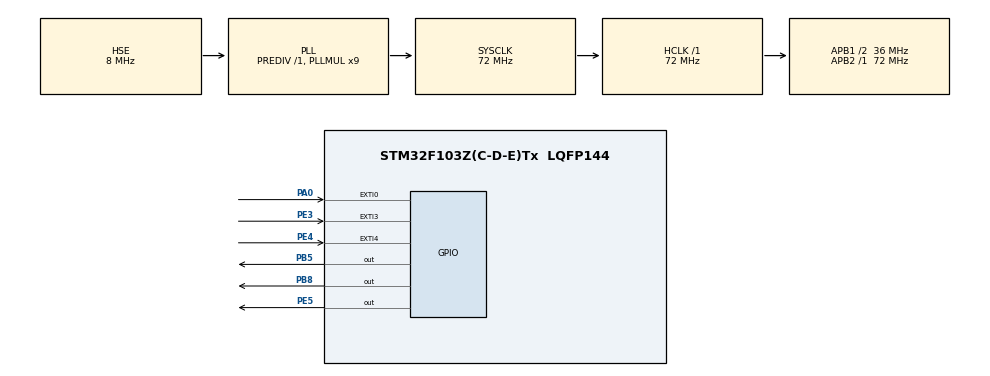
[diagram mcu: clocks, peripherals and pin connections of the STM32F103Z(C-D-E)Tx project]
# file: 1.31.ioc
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Mcu.Family=STM32F1
Mcu.Name=STM32F103Z(C-D-E)Tx
Mcu.Package=LQFP144
NVIC.EXTI0_IRQn=true\:3\:0\:true\:false\:true\:true\:true\:true
NVIC.EXTI3_IRQn=true\:1\:0\:true\:false\:true\:true\:true\:true
NVIC.EXTI4_IRQn=true\:0\:0\:false\:false\:true\:true\:true\:true
NVIC.PriorityGroup=NVIC_PRIORITYGROUP_4
OSC_IN.Mode=HSE-External-Oscillator
OSC_IN.Signal=RCC_OSC_IN
OSC_OUT.Mode=HSE-External-Oscillator
OSC_OUT.Signal=RCC_OSC_OUT
PA0-WKUP.GPIO_ModeDefaultEXTI=GPIO_MODE_IT_RISING
PA0-WKUP.GPIO_PuPd=GPIO_PULLDOWN
PA0-WKUP.Signal=GPXTI0
PA13.Mode=Serial_Wire
PA13.Signal=SYS_JTMS-SWDIO
PA14.Mode=Serial_Wire
PA14.Signal=SYS_JTCK-SWCLK
PB5.GPIO_PuPd=GPIO_PULLUP
PB5.GPIO_Speed=GPIO_SPEED_FREQ_HIGH
PB5.Signal=GPIO_Output
PB8.GPIO_PuPd=GPIO_PULLUP
PB8.GPIO_Speed=GPIO_SPEED_FREQ_HIGH
PB8.Signal=GPIO_Output
PC14-OSC32_IN.Mode=LSE-External-Oscillator
PC14-OSC32_IN.Signal=RCC_OSC32_IN
PC15-OSC32_OUT.Mode=LSE-External-Oscillator
PC15-OSC32_OUT.Signal=RCC_OSC32_OUT
PE3.GPIO_ModeDefaultEXTI=GPIO_MODE_IT_FALLING
PE3.GPIO_PuPd=GPIO_PULLUP
PE3.Signal=GPXTI3
PE4.GPIO_ModeDefaultEXTI=GPIO_MODE_IT_FALLING
PE4.GPIO_PuPd=GPIO_PULLUP
PE4.Signal=GPXTI4
PE5.GPIO_PuPd=GPIO_PULLUP
PE5.GPIO_Speed=GPIO_SPEED_FREQ_HIGH
PE5.Signal=GPIO_Output
ProjectManager.HeapSize=0x200
ProjectManager.StackSize=0x400
ProjectManager.TargetToolchain=CMake
RCC.AHBFreq_Value=72000000
RCC.APB1CLKDivider=RCC_HCLK_DIV2
RCC.APB1Freq_Value=36000000
RCC.APB1TimFreq_Value=72000000
RCC.APB2Freq_Value=72000000
RCC.APB2TimFreq_Value=72000000
RCC.HCLKFreq_Value=72000000
RCC.PLLMUL=RCC_PLL_MUL9
RCC.PLLSourceVirtual=RCC_PLLSOURCE_HSE
RCC.SYSCLKFreq_VALUE=72000000
RCC.SYSCLKSource=RCC_SYSCLKSOURCE_PLLCLK
RCC.USBFreq_Value=72000000
board=custom

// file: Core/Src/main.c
/* USER CODE BEGIN Header */
/**
  ******************************************************************************
  * @file           : main.c
  * @brief          : Main program body
  ******************************************************************************
  * @attention
  *
  * Copyright (c) 2026 STMicroelectronics.
  * All rights reserved.
  *
  * This software is licensed under terms that can be found in the LICENSE file
  * in the root directory of this software component.
  * If no LICENSE file comes with this software, it is provided AS-IS.
  *
  ******************************************************************************
  */
/* USER CODE END Header */
#include "main.h"
#include "gpio.h"

void SystemClock_Config(void);

/* USER CODE BEGIN 0 */

/**
  * @brief  简单延时函数（用于中断中的消抖）
  * @param  count: 延时计数值
  */
static void Delay_Simple(volatile uint32_t count)
{
    while(count--);
}

/**
  * @brief  EXTI 中断回调函数
  * @param  GPIO_Pin: 触发中断的引脚
  * @note   当按键按下时，此函数被调用
  *         - KEY1 (PE3): 控制 LED0 翻转
  *         - KEY2 (PE4): 控制 LED1 翻转
  *         - KEY_UP (PA0): 控制蜂鸣器翻转
  */
void HAL_GPIO_EXTI_Callback(uint16_t GPIO_Pin)
{
    // 简单的软件消抖延时（不使用 HAL_Delay，避免中断阻塞）
    Delay_Simple(10000);

    switch(GPIO_Pin)
    {
        case KEY1_PIN:  // PE3 - KEY1 按下
            // 再次确认按键状态（消抖）
            if(HAL_GPIO_ReadPin(KEY1_GPIO_PORT, KEY1_PIN) == GPIO_PIN_RESET)
            {
                LED0_TOGGLE();  // LED0 翻转
            }
            break;

        case KEY2_PIN:  // PE4 - KEY2 按下
            if(HAL_GPIO_ReadPin(KEY2_GPIO_PORT, KEY2_PIN) == GPIO_PIN_RESET)
            {
                LED1_TOGGLE();  // LED1 翻转
            }
            break;

        case KEY_UP_PIN:  // PA0 - KEY_UP 按下
            if(HAL_GPIO_ReadPin(KEY_UP_GPIO_PORT, KEY_UP_PIN) == GPIO_PIN_SET)
            {
                BUZZER_TOGGLE();  // 蜂鸣器翻转
            }
            break;

        default:
            break;
    }
}

/* USER CODE END 0 */

int main(void)
{

  /* MCU Configuration--------------------------------------------------------*/

  /* Reset of all peripherals, Initializes the Flash interface and the Systick. */
  HAL_Init();

  /* Configure the system clock */
  SystemClock_Config();

  /* Initialize all configured peripherals */
  MX_GPIO_Init();
  /* USER CODE BEGIN 2 */

  // ===== 启动测试：LED 闪烁 3 次表示程序正常运行 =====
  for(int i = 0; i < 3; i++)
  {
      LED0_ON();
      LED1_ON();
      HAL_Delay(200);
      LED0_OFF();
      LED1_OFF();
      HAL_Delay(200);
  }

  // 蜂鸣器短响一声表示初始化完成
  BUZZER_ON();
  HAL_Delay(100);
  BUZZER_OFF();

  /* USER CODE END 2 */

  /* Infinite loop */
  /* USER CODE BEGIN WHILE */
  while (1)
  {
    // 主循环保持空闲，所有工作由中断完成
    // 你也可以在这里添加其他任务

    /* USER CODE END WHILE */

  }
}

void SystemClock_Config(void)
{
  RCC_OscInitTypeDef RCC_OscInitStruct = {0};
  RCC_ClkInitTypeDef RCC_ClkInitStruct = {0};

  /** Initializes the RCC Oscillators according to the specified parameters
  * in the RCC_OscInitTypeDef structure.
  */
  RCC_OscInitStruct.OscillatorType = RCC_OSCILLATORTYPE_HSE;
  RCC_OscInitStruct.HSEState = RCC_HSE_ON;
  RCC_OscInitStruct.HSEPredivValue = RCC_HSE_PREDIV_DIV1;
  RCC_OscInitStruct.HSIState = RCC_HSI_ON;
  RCC_OscInitStruct.PLL.PLLState = RCC_PLL_ON;
  RCC_OscInitStruct.PLL.PLLSource = RCC_PLLSOURCE_HSE;
  RCC_OscInitStruct.PLL.PLLMUL = RCC_PLL_MUL9;
  if (HAL_RCC_OscConfig(&RCC_OscInitStruct) != HAL_OK)
  {
    Error_Handler();
  }

  /** Initializes the CPU, AHB and APB buses clocks
  */
  RCC_ClkInitStruct.ClockType = RCC_CLOCKTYPE_HCLK|RCC_CLOCKTYPE_SYSCLK
                              |RCC_CLOCKTYPE_PCLK1|RCC_CLOCKTYPE_PCLK2;
  RCC_ClkInitStruct.SYSCLKSource = RCC_SYSCLKSOURCE_PLLCLK;
  RCC_ClkInitStruct.AHBCLKDivider = RCC_SYSCLK_DIV1;
  RCC_ClkInitStruct.APB1CLKDivider = RCC_HCLK_DIV2;
  RCC_ClkInitStruct.APB2CLKDivider = RCC_HCLK_DIV1;

  if (HAL_RCC_ClockConfig(&RCC_ClkInitStruct, FLASH_LATENCY_2) != HAL_OK)
  {
    Error_Handler();
  }
}

void Error_Handler(void)
{
  __disable_irq();
  while (1)
  {
  }
}
